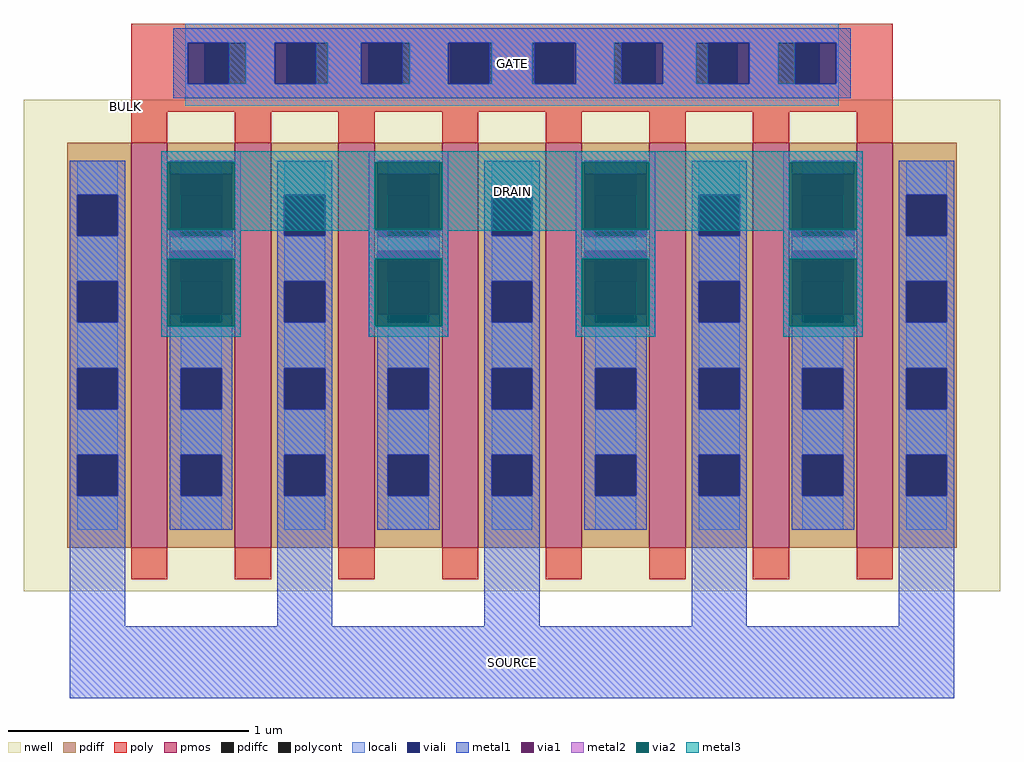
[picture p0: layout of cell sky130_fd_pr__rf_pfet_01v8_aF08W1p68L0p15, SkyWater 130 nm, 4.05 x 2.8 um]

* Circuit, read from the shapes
.subckt sky130_fd_pr__rf_pfet_01v8_aF08W1p68L0p15 DRAIN GATE SOURCE BULK
XM1 DRAIN GATE SOURCE BULK sky130_fd_pr__pfet_01v8 w=1.68 l=0.15 m=8
.ends

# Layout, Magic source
magic
tech sky130A
magscale 1 2
<< nwell >>
rect 0 0 810 408
<< pmos >>
rect 89 36 119 372
rect 175 36 205 372
rect 261 36 291 372
rect 347 36 377 372
rect 433 36 463 372
rect 519 36 549 372
rect 605 36 635 372
rect 691 36 721 372
<< pdiff >>
rect 36 329 89 372
rect 36 295 44 329
rect 78 295 89 329
rect 36 257 89 295
rect 36 223 44 257
rect 78 223 89 257
rect 36 185 89 223
rect 36 151 44 185
rect 78 151 89 185
rect 36 113 89 151
rect 36 79 44 113
rect 78 79 89 113
rect 36 36 89 79
rect 119 329 175 372
rect 119 295 130 329
rect 164 295 175 329
rect 119 257 175 295
rect 119 223 130 257
rect 164 223 175 257
rect 119 185 175 223
rect 119 151 130 185
rect 164 151 175 185
rect 119 113 175 151
rect 119 79 130 113
rect 164 79 175 113
rect 119 36 175 79
rect 205 329 261 372
rect 205 295 216 329
rect 250 295 261 329
rect 205 257 261 295
rect 205 223 216 257
rect 250 223 261 257
rect 205 185 261 223
rect 205 151 216 185
rect 250 151 261 185
rect 205 113 261 151
rect 205 79 216 113
rect 250 79 261 113
rect 205 36 261 79
rect 291 329 347 372
rect 291 295 302 329
rect 336 295 347 329
rect 291 257 347 295
rect 291 223 302 257
rect 336 223 347 257
rect 291 185 347 223
rect 291 151 302 185
rect 336 151 347 185
rect 291 113 347 151
rect 291 79 302 113
rect 336 79 347 113
rect 291 36 347 79
rect 377 329 433 372
rect 377 295 388 329
rect 422 295 433 329
rect 377 257 433 295
rect 377 223 388 257
rect 422 223 433 257
rect 377 185 433 223
rect 377 151 388 185
rect 422 151 433 185
rect 377 113 433 151
rect 377 79 388 113
rect 422 79 433 113
rect 377 36 433 79
rect 463 329 519 372
rect 463 295 474 329
rect 508 295 519 329
rect 463 257 519 295
rect 463 223 474 257
rect 508 223 519 257
rect 463 185 519 223
rect 463 151 474 185
rect 508 151 519 185
rect 463 113 519 151
rect 463 79 474 113
rect 508 79 519 113
rect 463 36 519 79
rect 549 329 605 372
rect 549 295 560 329
rect 594 295 605 329
rect 549 257 605 295
rect 549 223 560 257
rect 594 223 605 257
rect 549 185 605 223
rect 549 151 560 185
rect 594 151 605 185
rect 549 113 605 151
rect 549 79 560 113
rect 594 79 605 113
rect 549 36 605 79
rect 635 329 691 372
rect 635 295 646 329
rect 680 295 691 329
rect 635 257 691 295
rect 635 223 646 257
rect 680 223 691 257
rect 635 185 691 223
rect 635 151 646 185
rect 680 151 691 185
rect 635 113 691 151
rect 635 79 646 113
rect 680 79 691 113
rect 635 36 691 79
rect 721 329 774 372
rect 721 295 732 329
rect 766 295 774 329
rect 721 257 774 295
rect 721 223 732 257
rect 766 223 774 257
rect 721 185 774 223
rect 721 151 732 185
rect 766 151 774 185
rect 721 113 774 151
rect 721 79 732 113
rect 766 79 774 113
rect 721 36 774 79
<< pdiffc >>
rect 44 295 78 329
rect 44 223 78 257
rect 44 151 78 185
rect 44 79 78 113
rect 130 295 164 329
rect 130 223 164 257
rect 130 151 164 185
rect 130 79 164 113
rect 216 295 250 329
rect 216 223 250 257
rect 216 151 250 185
rect 216 79 250 113
rect 302 295 336 329
rect 302 223 336 257
rect 302 151 336 185
rect 302 79 336 113
rect 388 295 422 329
rect 388 223 422 257
rect 388 151 422 185
rect 388 79 422 113
rect 474 295 508 329
rect 474 223 508 257
rect 474 151 508 185
rect 474 79 508 113
rect 560 295 594 329
rect 560 223 594 257
rect 560 151 594 185
rect 560 79 594 113
rect 646 295 680 329
rect 646 223 680 257
rect 646 151 680 185
rect 646 79 680 113
rect 732 295 766 329
rect 732 223 766 257
rect 732 151 766 185
rect 732 79 766 113
<< poly >>
rect 89 455 721 471
rect 89 421 150 455
rect 184 421 218 455
rect 252 421 286 455
rect 320 421 354 455
rect 388 421 422 455
rect 456 421 490 455
rect 524 421 558 455
rect 592 421 626 455
rect 660 421 721 455
rect 89 398 721 421
rect 89 372 119 398
rect 175 372 205 398
rect 261 372 291 398
rect 347 372 377 398
rect 433 372 463 398
rect 519 372 549 398
rect 605 372 635 398
rect 691 372 721 398
rect 89 10 119 36
rect 175 10 205 36
rect 261 10 291 36
rect 347 10 377 36
rect 433 10 463 36
rect 519 10 549 36
rect 605 10 635 36
rect 691 10 721 36
<< polycont >>
rect 150 421 184 455
rect 218 421 252 455
rect 286 421 320 455
rect 354 421 388 455
rect 422 421 456 455
rect 490 421 524 455
rect 558 421 592 455
rect 626 421 660 455
<< locali >>
rect 134 455 676 471
rect 134 421 136 455
rect 184 421 208 455
rect 252 421 280 455
rect 320 421 352 455
rect 388 421 422 455
rect 458 421 490 455
rect 530 421 558 455
rect 602 421 626 455
rect 674 421 676 455
rect 134 403 676 421
rect 44 329 78 357
rect 44 257 78 295
rect 44 185 78 223
rect 44 113 78 151
rect 44 51 78 79
rect 130 329 164 357
rect 130 257 164 295
rect 130 185 164 223
rect 130 113 164 151
rect 130 51 164 79
rect 216 329 250 357
rect 216 257 250 295
rect 216 185 250 223
rect 216 113 250 151
rect 216 51 250 79
rect 302 329 336 357
rect 302 257 336 295
rect 302 185 336 223
rect 302 113 336 151
rect 302 51 336 79
rect 388 329 422 357
rect 388 257 422 295
rect 388 185 422 223
rect 388 113 422 151
rect 388 51 422 79
rect 474 329 508 357
rect 474 257 508 295
rect 474 185 508 223
rect 474 113 508 151
rect 474 51 508 79
rect 560 329 594 357
rect 560 257 594 295
rect 560 185 594 223
rect 560 113 594 151
rect 560 51 594 79
rect 646 329 680 357
rect 646 257 680 295
rect 646 185 680 223
rect 646 113 680 151
rect 646 51 680 79
rect 732 329 766 357
rect 732 257 766 295
rect 732 185 766 223
rect 732 113 766 151
rect 732 51 766 79
<< viali >>
rect 136 421 150 455
rect 150 421 170 455
rect 208 421 218 455
rect 218 421 242 455
rect 280 421 286 455
rect 286 421 314 455
rect 352 421 354 455
rect 354 421 386 455
rect 424 421 456 455
rect 456 421 458 455
rect 496 421 524 455
rect 524 421 530 455
rect 568 421 592 455
rect 592 421 602 455
rect 640 421 660 455
rect 660 421 674 455
rect 44 295 78 329
rect 44 223 78 257
rect 44 151 78 185
rect 44 79 78 113
rect 130 295 164 329
rect 130 223 164 257
rect 130 151 164 185
rect 130 79 164 113
rect 216 295 250 329
rect 216 223 250 257
rect 216 151 250 185
rect 216 79 250 113
rect 302 295 336 329
rect 302 223 336 257
rect 302 151 336 185
rect 302 79 336 113
rect 388 295 422 329
rect 388 223 422 257
rect 388 151 422 185
rect 388 79 422 113
rect 474 295 508 329
rect 474 223 508 257
rect 474 151 508 185
rect 474 79 508 113
rect 560 295 594 329
rect 560 223 594 257
rect 560 151 594 185
rect 560 79 594 113
rect 646 295 680 329
rect 646 223 680 257
rect 646 151 680 185
rect 646 79 680 113
rect 732 295 766 329
rect 732 223 766 257
rect 732 151 766 185
rect 732 79 766 113
<< metal1 >>
rect 124 455 686 467
rect 124 421 136 455
rect 170 421 208 455
rect 242 421 280 455
rect 314 421 352 455
rect 386 421 424 455
rect 458 421 496 455
rect 530 421 568 455
rect 602 421 640 455
rect 674 421 686 455
rect 124 409 686 421
rect 38 329 84 357
rect 38 295 44 329
rect 78 295 84 329
rect 38 257 84 295
rect 38 223 44 257
rect 78 223 84 257
rect 38 185 84 223
rect 38 151 44 185
rect 78 151 84 185
rect 38 113 84 151
rect 38 79 44 113
rect 78 79 84 113
rect 38 -29 84 79
rect 121 346 173 357
rect 121 282 173 294
rect 121 223 130 230
rect 164 223 173 230
rect 121 185 173 223
rect 121 151 130 185
rect 164 151 173 185
rect 121 113 173 151
rect 121 79 130 113
rect 164 79 173 113
rect 121 51 173 79
rect 210 329 256 357
rect 210 295 216 329
rect 250 295 256 329
rect 210 257 256 295
rect 210 223 216 257
rect 250 223 256 257
rect 210 185 256 223
rect 210 151 216 185
rect 250 151 256 185
rect 210 113 256 151
rect 210 79 216 113
rect 250 79 256 113
rect 210 -29 256 79
rect 293 346 345 357
rect 293 282 345 294
rect 293 223 302 230
rect 336 223 345 230
rect 293 185 345 223
rect 293 151 302 185
rect 336 151 345 185
rect 293 113 345 151
rect 293 79 302 113
rect 336 79 345 113
rect 293 51 345 79
rect 382 329 428 357
rect 382 295 388 329
rect 422 295 428 329
rect 382 257 428 295
rect 382 223 388 257
rect 422 223 428 257
rect 382 185 428 223
rect 382 151 388 185
rect 422 151 428 185
rect 382 113 428 151
rect 382 79 388 113
rect 422 79 428 113
rect 382 -29 428 79
rect 465 346 517 357
rect 465 282 517 294
rect 465 223 474 230
rect 508 223 517 230
rect 465 185 517 223
rect 465 151 474 185
rect 508 151 517 185
rect 465 113 517 151
rect 465 79 474 113
rect 508 79 517 113
rect 465 51 517 79
rect 554 329 600 357
rect 554 295 560 329
rect 594 295 600 329
rect 554 257 600 295
rect 554 223 560 257
rect 594 223 600 257
rect 554 185 600 223
rect 554 151 560 185
rect 594 151 600 185
rect 554 113 600 151
rect 554 79 560 113
rect 594 79 600 113
rect 554 -29 600 79
rect 637 346 689 357
rect 637 282 689 294
rect 637 223 646 230
rect 680 223 689 230
rect 637 185 689 223
rect 637 151 646 185
rect 680 151 689 185
rect 637 113 689 151
rect 637 79 646 113
rect 680 79 689 113
rect 637 51 689 79
rect 726 329 772 357
rect 726 295 732 329
rect 766 295 772 329
rect 726 257 772 295
rect 726 223 732 257
rect 766 223 772 257
rect 726 185 772 223
rect 726 151 732 185
rect 766 151 772 185
rect 726 113 772 151
rect 726 79 732 113
rect 766 79 772 113
rect 726 -29 772 79
rect 38 -89 772 -29
<< via1 >>
rect 121 329 173 346
rect 121 295 130 329
rect 130 295 164 329
rect 164 295 173 329
rect 121 294 173 295
rect 121 257 173 282
rect 121 230 130 257
rect 130 230 164 257
rect 164 230 173 257
rect 293 329 345 346
rect 293 295 302 329
rect 302 295 336 329
rect 336 295 345 329
rect 293 294 345 295
rect 293 257 345 282
rect 293 230 302 257
rect 302 230 336 257
rect 336 230 345 257
rect 465 329 517 346
rect 465 295 474 329
rect 474 295 508 329
rect 508 295 517 329
rect 465 294 517 295
rect 465 257 517 282
rect 465 230 474 257
rect 474 230 508 257
rect 508 230 517 257
rect 637 329 689 346
rect 637 295 646 329
rect 646 295 680 329
rect 680 295 689 329
rect 637 294 689 295
rect 637 257 689 282
rect 637 230 646 257
rect 646 230 680 257
rect 680 230 689 257
<< metal2 >>
rect 114 356 180 365
rect 114 300 119 356
rect 175 300 180 356
rect 114 294 121 300
rect 173 294 180 300
rect 114 282 180 294
rect 114 276 121 282
rect 173 276 180 282
rect 114 220 119 276
rect 175 220 180 276
rect 114 211 180 220
rect 286 356 352 365
rect 286 300 291 356
rect 347 300 352 356
rect 286 294 293 300
rect 345 294 352 300
rect 286 282 352 294
rect 286 276 293 282
rect 345 276 352 282
rect 286 220 291 276
rect 347 220 352 276
rect 286 211 352 220
rect 458 356 524 365
rect 458 300 463 356
rect 519 300 524 356
rect 458 294 465 300
rect 517 294 524 300
rect 458 282 524 294
rect 458 276 465 282
rect 517 276 524 282
rect 458 220 463 276
rect 519 220 524 276
rect 458 211 524 220
rect 630 356 696 365
rect 630 300 635 356
rect 691 300 696 356
rect 630 294 637 300
rect 689 294 696 300
rect 630 282 696 294
rect 630 276 637 282
rect 689 276 696 282
rect 630 220 635 276
rect 691 220 696 276
rect 630 211 696 220
<< via2 >>
rect 119 346 175 356
rect 119 300 121 346
rect 121 300 173 346
rect 173 300 175 346
rect 119 230 121 276
rect 121 230 173 276
rect 173 230 175 276
rect 119 220 175 230
rect 291 346 347 356
rect 291 300 293 346
rect 293 300 345 346
rect 345 300 347 346
rect 291 230 293 276
rect 293 230 345 276
rect 345 230 347 276
rect 291 220 347 230
rect 463 346 519 356
rect 463 300 465 346
rect 465 300 517 346
rect 517 300 519 346
rect 463 230 465 276
rect 465 230 517 276
rect 517 230 519 276
rect 463 220 519 230
rect 635 346 691 356
rect 635 300 637 346
rect 637 300 689 346
rect 689 300 691 346
rect 635 230 637 276
rect 637 230 689 276
rect 689 230 691 276
rect 635 220 691 230
<< metal3 >>
rect 114 356 696 365
rect 114 300 119 356
rect 175 300 291 356
rect 347 300 463 356
rect 519 300 635 356
rect 691 300 696 356
rect 114 299 696 300
rect 114 276 180 299
rect 114 220 119 276
rect 175 220 180 276
rect 114 211 180 220
rect 286 276 352 299
rect 286 220 291 276
rect 347 220 352 276
rect 286 211 352 220
rect 458 276 524 299
rect 458 220 463 276
rect 519 220 524 276
rect 458 211 524 220
rect 630 276 696 299
rect 630 220 635 276
rect 691 220 696 276
rect 630 211 696 220
<< labels >>
flabel metal3 s 114 299 696 365 0 FreeSans 400 0 0 0 DRAIN
port 1 nsew
flabel metal1 s 124 409 686 467 0 FreeSans 400 0 0 0 GATE
port 2 nsew
flabel metal1 s 38 -89 772 -29 0 FreeSans 400 0 0 0 SOURCE
port 3 nsew
flabel nwell s 83 400 86 405 0 FreeSans 400 0 0 0 BULK
port 4 nsew
<< properties >>
string GDS_FILE $PDKPATH/libs.ref/sky130_fd_pr/gds/sky130_fd_pr.gds
string GDS_END 9251802
string GDS_START 9237826
string path 1.525 8.925 1.525 -2.225 
<< end >>
